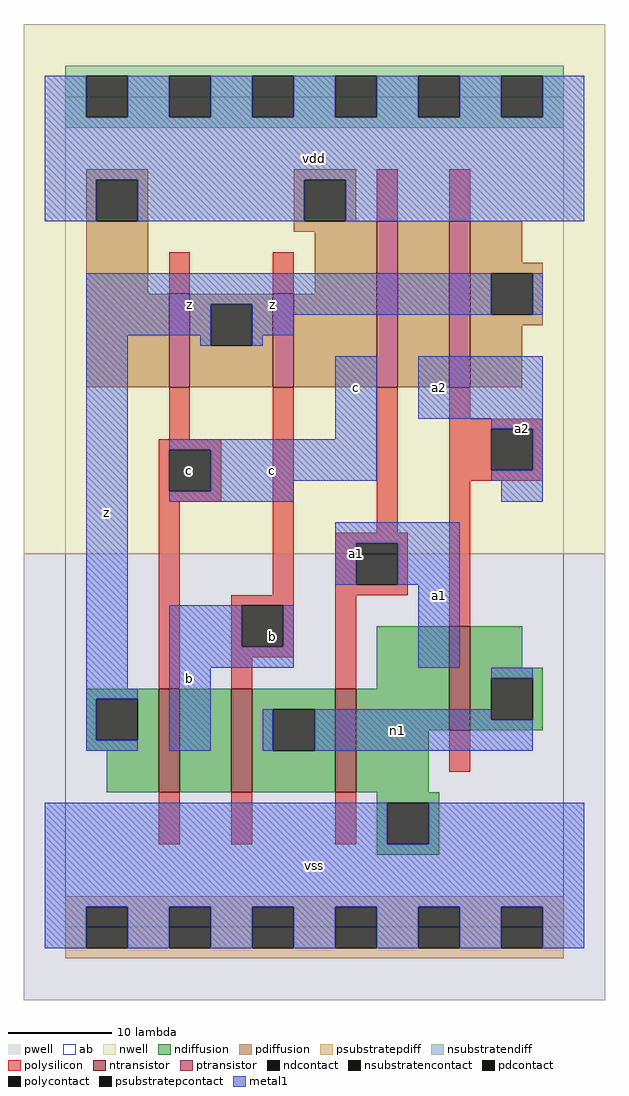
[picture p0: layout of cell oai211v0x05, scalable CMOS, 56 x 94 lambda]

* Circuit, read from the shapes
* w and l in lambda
.subckt oai211v0x05 a1 a2 b c n1 vdd vss z
M1 n2 c z vss nfet w=10 l=2
M2 n1 b n2 vss nfet w=10 l=2
M3 vss a1 n1 vss nfet w=10 l=2
M4 n1 a2 vss vss nfet w=10 l=2
M5 z c vdd vdd pfet w=9 l=2
M6 vdd b z vdd pfet w=9 l=2
M7 n3 a1 vdd vdd pfet w=16 l=2
M8 z a2 n3 vdd pfet w=16 l=2
.ends

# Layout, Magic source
magic
tech scmos
<< ab >>
rect 0 0 48 80
<< pwell >>
rect -4 -7 52 36
<< nwell >>
rect -4 36 52 87
<< polysilicon >>
rect 30 68 32 73
rect 37 68 39 73
rect 10 61 12 65
rect 20 61 22 65
rect 10 47 12 52
rect 9 46 15 47
rect 9 42 10 46
rect 14 42 15 46
rect 9 41 15 42
rect 9 23 11 41
rect 20 32 22 52
rect 30 38 32 52
rect 37 49 39 52
rect 37 48 46 49
rect 37 44 41 48
rect 45 44 46 48
rect 37 43 46 44
rect 16 31 22 32
rect 16 27 17 31
rect 21 27 22 31
rect 16 26 22 27
rect 26 37 33 38
rect 26 33 28 37
rect 32 33 33 37
rect 26 32 33 33
rect 16 23 18 26
rect 26 23 28 32
rect 37 29 39 43
rect 37 15 39 19
rect 9 8 11 13
rect 16 8 18 13
rect 26 8 28 13
<< ndiffusion >>
rect 30 23 37 29
rect 2 22 9 23
rect 2 18 3 22
rect 7 18 9 22
rect 2 17 9 18
rect 4 13 9 17
rect 11 13 16 23
rect 18 21 26 23
rect 18 17 20 21
rect 24 17 26 21
rect 18 13 26 17
rect 28 19 37 23
rect 39 25 44 29
rect 39 24 46 25
rect 39 20 41 24
rect 45 20 46 24
rect 39 19 46 20
rect 28 13 35 19
rect 30 12 36 13
rect 30 8 31 12
rect 35 8 36 12
rect 30 7 36 8
<< pdiffusion >>
rect 2 72 8 73
rect 2 68 3 72
rect 7 68 8 72
rect 2 61 8 68
rect 22 72 28 73
rect 22 68 23 72
rect 27 68 28 72
rect 22 67 30 68
rect 24 61 30 67
rect 2 52 10 61
rect 12 60 20 61
rect 12 56 14 60
rect 18 56 20 60
rect 12 52 20 56
rect 22 52 30 61
rect 32 52 37 68
rect 39 64 44 68
rect 39 63 46 64
rect 39 59 41 63
rect 45 59 46 63
rect 39 58 46 59
rect 39 52 44 58
<< metal1 >>
rect -2 78 2 82
rect 6 78 10 82
rect 14 78 18 82
rect 22 78 26 82
rect 30 78 34 82
rect 38 78 42 82
rect 46 78 50 82
rect -2 72 50 78
rect -2 68 3 72
rect 7 68 23 72
rect 27 68 50 72
rect 2 60 41 63
rect 2 57 14 60
rect 2 23 6 57
rect 13 56 14 57
rect 18 59 41 60
rect 45 59 46 63
rect 18 57 22 59
rect 18 56 19 57
rect 26 47 30 55
rect 34 49 46 55
rect 10 46 30 47
rect 14 43 30 46
rect 41 48 46 49
rect 45 44 46 48
rect 41 43 46 44
rect 14 42 22 43
rect 10 41 22 42
rect 42 41 46 43
rect 26 37 38 39
rect 26 33 28 37
rect 32 33 38 37
rect 10 27 17 31
rect 21 27 22 31
rect 10 25 22 27
rect 34 25 38 33
rect 2 22 7 23
rect 2 18 3 22
rect 2 17 7 18
rect 10 17 14 25
rect 41 24 45 25
rect 19 17 20 21
rect 24 20 41 21
rect 24 17 45 20
rect -2 8 31 12
rect 35 8 50 12
rect -2 2 50 8
rect -2 -2 2 2
rect 6 -2 10 2
rect 14 -2 18 2
rect 22 -2 26 2
rect 30 -2 34 2
rect 38 -2 42 2
rect 46 -2 50 2
<< ntransistor >>
rect 9 13 11 23
rect 16 13 18 23
rect 26 13 28 23
rect 37 19 39 29
<< ptransistor >>
rect 10 52 12 61
rect 20 52 22 61
rect 30 52 32 68
rect 37 52 39 68
<< polycontact >>
rect 10 42 14 46
rect 41 44 45 48
rect 17 27 21 31
rect 28 33 32 37
<< ndcontact >>
rect 3 18 7 22
rect 20 17 24 21
rect 41 20 45 24
rect 31 8 35 12
<< pdcontact >>
rect 3 68 7 72
rect 23 68 27 72
rect 14 56 18 60
rect 41 59 45 63
<< psubstratepcontact >>
rect 2 -2 6 2
rect 10 -2 14 2
rect 18 -2 22 2
rect 26 -2 30 2
rect 34 -2 38 2
rect 42 -2 46 2
<< nsubstratencontact >>
rect 2 78 6 82
rect 10 78 14 82
rect 18 78 22 82
rect 26 78 30 82
rect 34 78 38 82
rect 42 78 46 82
<< psubstratepdiff >>
rect 0 2 48 3
rect 0 -2 2 2
rect 6 -2 10 2
rect 14 -2 18 2
rect 22 -2 26 2
rect 30 -2 34 2
rect 38 -2 42 2
rect 46 -2 48 2
rect 0 -3 48 -2
<< nsubstratendiff >>
rect 0 82 48 83
rect 0 78 2 82
rect 6 78 10 82
rect 14 78 18 82
rect 22 78 26 82
rect 30 78 34 82
rect 38 78 42 82
rect 46 78 48 82
rect 0 77 48 78
<< labels >>
rlabel metal1 4 40 4 40 6 z
rlabel metal1 12 24 12 24 6 b
rlabel polycontact 12 44 12 44 6 c
rlabel metal1 12 60 12 60 6 z
rlabel metal1 24 6 24 6 6 vss
rlabel polycontact 20 28 20 28 6 b
rlabel metal1 20 44 20 44 6 c
rlabel metal1 20 60 20 60 6 z
rlabel metal1 24 74 24 74 6 vdd
rlabel metal1 36 32 36 32 6 a1
rlabel metal1 28 36 28 36 6 a1
rlabel metal1 36 52 36 52 6 a2
rlabel metal1 28 52 28 52 6 c
rlabel metal1 32 19 32 19 6 n1
rlabel metal1 44 48 44 48 6 a2
<< end >>
